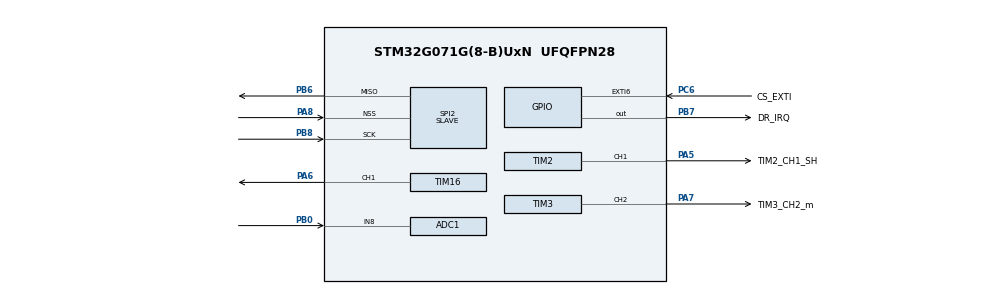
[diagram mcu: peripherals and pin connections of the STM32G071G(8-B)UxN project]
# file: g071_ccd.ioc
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ADC1.Channel-0\#ChannelRegularConversion=ADC_CHANNEL_8
ADC1.DMAContinuousRequests=DISABLE
ADC1.ExternalTrigConv=ADC_EXTERNALTRIG_T6_TRGO
ADC1.ExternalTrigConvEdge=ADC_EXTERNALTRIGCONVEDGE_RISING
ADC1.NbrOfConversion=1
ADC1.NbrOfConversionFlag=1
ADC1.Overrun=ADC_OVR_DATA_OVERWRITTEN
ADC1.OversamplingMode=DISABLE
ADC1.Rank-0\#ChannelRegularConversion=1
ADC1.Resolution=ADC_RESOLUTION_12B
ADC1.SamplingTime-0\#ChannelRegularConversion=ADC_SAMPLINGTIME_COMMON_1
ADC1.SamplingTimeCommon1=ADC_SAMPLETIME_1CYCLE_5
ADC1.SamplingTimeCommon2=ADC_SAMPLETIME_1CYCLE_5
ADC1.SelectedChannel=ADC_CHANNEL_8
ADC1.master=1
Dma.ADC1.0.Direction=DMA_PERIPH_TO_MEMORY
Dma.ADC1.0.EventEnable=DISABLE
Dma.ADC1.0.Instance=DMA1_Channel1
Dma.ADC1.0.MemDataAlignment=DMA_MDATAALIGN_HALFWORD
Dma.ADC1.0.MemInc=DMA_MINC_ENABLE
Dma.ADC1.0.Mode=DMA_NORMAL
Dma.ADC1.0.PeriphDataAlignment=DMA_PDATAALIGN_HALFWORD
Dma.ADC1.0.PeriphInc=DMA_PINC_DISABLE
Dma.ADC1.0.Polarity=HAL_DMAMUX_REQ_GEN_RISING
Dma.ADC1.0.Priority=DMA_PRIORITY_VERY_HIGH
Dma.ADC1.0.RequestNumber=1
Dma.ADC1.0.SignalID=NONE
Dma.ADC1.0.SyncEnable=DISABLE
Dma.ADC1.0.SyncPolarity=HAL_DMAMUX_SYNC_NO_EVENT
Dma.ADC1.0.SyncRequestNumber=1
Dma.ADC1.0.SyncSignalID=NONE
Dma.Request0=ADC1
Dma.Request1=SPI2_TX
Dma.SPI2_TX.1.Direction=DMA_MEMORY_TO_PERIPH
Dma.SPI2_TX.1.EventEnable=DISABLE
Dma.SPI2_TX.1.Instance=DMA1_Channel2
Dma.SPI2_TX.1.MemDataAlignment=DMA_MDATAALIGN_BYTE
Dma.SPI2_TX.1.MemInc=DMA_MINC_ENABLE
Dma.SPI2_TX.1.Mode=DMA_NORMAL
Dma.SPI2_TX.1.PeriphDataAlignment=DMA_PDATAALIGN_BYTE
Dma.SPI2_TX.1.PeriphInc=DMA_PINC_DISABLE
Dma.SPI2_TX.1.Polarity=HAL_DMAMUX_REQ_GEN_RISING
Dma.SPI2_TX.1.Priority=DMA_PRIORITY_LOW
Dma.SPI2_TX.1.RequestNumber=1
Dma.SPI2_TX.1.SignalID=NONE
Dma.SPI2_TX.1.SyncEnable=DISABLE
Dma.SPI2_TX.1.SyncPolarity=HAL_DMAMUX_SYNC_NO_EVENT
Dma.SPI2_TX.1.SyncRequestNumber=1
Dma.SPI2_TX.1.SyncSignalID=NONE
Mcu.Family=STM32G0
Mcu.Name=STM32G071G(8-B)UxN
Mcu.Package=UFQFPN28
NVIC.DMA1_Channel1_IRQn=true\:1\:0\:true\:false\:true\:false\:true\:true
NVIC.DMA1_Channel2_3_IRQn=true\:0\:0\:false\:false\:true\:false\:true\:true
NVIC.EXTI4_15_IRQn=true\:0\:0\:false\:false\:true\:true\:true\:true
NVIC.TIM16_IRQn=true\:0\:0\:false\:false\:true\:true\:true\:true
NVIC.TIM17_IRQn=true\:2\:0\:true\:false\:true\:true\:true\:true
NVIC.TIM2_IRQn=true\:0\:0\:false\:false\:true\:true\:true\:true
PA13.Mode=Serial_Wire
PA13.Signal=SYS_SWDIO
PA14-BOOT0.Mode=Serial_Wire
PA14-BOOT0.Signal=SYS_SWCLK
PA5.GPIO_Label=TIM2_CH1_SH
PA5.Signal=S_TIM2_CH1_ETR
PA6.Signal=S_TIM16_CH1
PA7.GPIO_Label=TIM3_CH2_m
PA7.Signal=S_TIM3_CH2
PA8.Mode=NSS_Signal_Hard_Input
PA8.Signal=SPI2_NSS
PB0.Mode=IN8
PB0.Signal=ADC1_IN8
PB6.Mode=TX_Only_Simplex_Unidirect_Slave
PB6.Signal=SPI2_MISO
PB7.GPIO_Label=DR_IRQ
PB7.GPIO_ModeDefaultOutputPP=GPIO_MODE_OUTPUT_OD
PB7.GPIO_PuPd=GPIO_PULLUP
PB7.PinState=GPIO_PIN_RESET
PB7.Signal=GPIO_Output
PB8.Mode=TX_Only_Simplex_Unidirect_Slave
PB8.Signal=SPI2_SCK
PC6.GPIO_Label=CS_EXTI
PC6.GPIO_ModeDefaultEXTI=GPIO_MODE_IT_RISING_FALLING
PC6.GPIO_PuPd=GPIO_PULLUP
PC6.Signal=GPXTI6
ProjectManager.HeapSize=0x200
ProjectManager.StackSize=0x400
ProjectManager.TargetToolchain=MDK-ARM V5.32
RCC.ADCFreq_Value=64000000
RCC.AHBFreq_Value=64000000
RCC.CortexFreq_Value=64000000
RCC.EXTERNAL_CLOCK_VALUE=48000
RCC.HCLKFreq_Value=64000000
RCC.HSE_VALUE=8000000
RCC.HSI_VALUE=16000000
RCC.LSE_VALUE=32768
RCC.PLLQ=RCC_PLLQ_DIV4
RCC.SYSCLKFreq_VALUE=64000000
RCC.SYSCLKSource=RCC_SYSCLKSOURCE_PLLCLK
RCC.VCOOutputFreq_Value=128000000
SH.S_TIM16_CH1.0=TIM16_CH1,PWM Generation1 CH1
SH.S_TIM2_CH1_ETR.0=TIM2_CH1,PWM Generation1 CH1
SH.S_TIM3_CH2.0=TIM3_CH2,PWM Generation2 CH2
SPI2.DataSize=SPI_DATASIZE_8BIT
SPI2.Direction=SPI_DIRECTION_2LINES
SPI2.Mode=SPI_MODE_SLAVE
SPI2.VirtualNSS=VM_NSSHARD
SPI2.VirtualType=VM_SLAVE
TIM16.Channel=TIM_CHANNEL_1
TIM2.AutoReloadPreload=TIM_AUTORELOAD_PRELOAD_ENABLE
TIM2.Channel-PWM\ Generation1\ CH1=TIM_CHANNEL_1
TIM2.Channel-PWM\ Generation2\ No\ Output=TIM_CHANNEL_2
TIM2.OCMode_PWM-PWM\ Generation2\ No\ Output=TIM_OCMODE_PWM1
TIM3.Channel-PWM\ Generation2\ CH2=TIM_CHANNEL_2
TIM6.TIM_MasterOutputTrigger=TIM_TRGO_UPDATE
VP_TIM16_VS_ClockSourceINT.Mode=Enable_Timer
VP_TIM17_VS_ClockSourceINT.Mode=Enable_Timer
VP_TIM2_VS_no_output2.Mode=PWM Generation2 No Output
VP_TIM3_VS_ClockSourceINT.Mode=Internal
VP_TIM6_VS_ClockSourceINT.Mode=Enable_Timer
board=custom

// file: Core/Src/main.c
/* USER CODE BEGIN Header */
/**
  ******************************************************************************
  * @file           : main.c
  * @brief          : Main program body
  ******************************************************************************
  * @attention
  *
  * Copyright (c) 2025 STMicroelectronics.
  * All rights reserved.
  *
  * This software is licensed under terms that can be found in the LICENSE file
  * in the root directory of this software component.
  * If no LICENSE file comes with this software, it is provided AS-IS.
  *
  ******************************************************************************
  */
  /* USER CODE END Header */
  /* Includes ------------------------------------------------------------------*/
#include "main.h"
#include "adc.h"
#include "dma.h"
#include "spi.h"
#include "tim.h"
#include "gpio.h"

/* USER CODE BEGIN Includes */
#define USE_DATA_NUM 1000
#if (USE_DATA_NUM>1500)
error("max is 1500");
#endif

#define DEFULT_EXPLOSE_TIME_US 2000
#define USE_AUTO_EXPLOSE 0

#if USE_AUTO_EXPLOSE==1
#include "pid.h"
pid_t explose_pid;
uint32_t pixel_sum;
#define AUTO_EXPLOSE_MAX_US 150000
#define AUTO_EXPLOSE_MIN_US 200
#define EXPLOSE_PID_P 0.01
#define EXPLOSE_PID_I 0
#define EXPLOSE_PID_D 0
#endif
/* USER CODE END Includes */

/* USER CODE BEGIN PTD */
#include "string.h"
/* USER CODE END PTD */

/* USER CODE BEGIN PV */
uint16_t calc_raw_max_dummy(void);

/* USER CODE END PV */

void SystemClock_Config(void);
/* USER CODE BEGIN PFP */
enum E_state {
    E_wait_sh_raising,
    E_wait_icg_raising,
    E_wait_dma_ok,
};
__IO enum E_state cur_state;
uint16_t adc_data[1546];
uint8_t adc_data_static_u8[USE_DATA_NUM];
__IO uint8_t ccd_frame_ok = 0;
__IO int32_t explose_time_us = DEFULT_EXPLOSE_TIME_US;
void ccd_start_icg(void);
void ccd_one_frame_ok(void);
__IO uint8_t ccd_want_update_sh_v = 0;
void ccd_want_update_sh(void)
{
    ccd_want_update_sh_v = 1;
    // LL_TIM_ClearFlag_UPDATE(TIM2);
    // LL_TIM_EnableIT_UPDATE(TIM2);
}
void ccd_update_sh(void)
{
    // LL_TIM_DisableIT_UPDATE(TIM2);
    if (explose_time_us > 10 && TIM2->ARR != explose_time_us - 1)
    {
        TIM2->ARR = explose_time_us - 1;
        TIM2->CCR2 = TIM2->ARR - 3;
        if (TIM2->CNT > TIM2->CCR2 - 100)
            TIM2->CNT = TIM2->CCR2 - 100;
    }
}
void ccd_waiting_sh(void)
{
    // if (explose_time_us > 10 && TIM2->ARR != explose_time_us)
    // {
    //     LL_TIM_DisableCounter(TIM2);
    //     TIM2->ARR = explose_time_us;
    //     TIM2->CCR2 = TIM2->ARR - 2;
    //     LL_TIM_GenerateEvent_UPDATE(TIM2);
    //     LL_TIM_EnableCounter(TIM2);
    // }
    LL_TIM_ClearFlag_CC2(TIM2);
    LL_TIM_EnableIT_CC2(TIM2);
    cur_state = E_wait_sh_raising;
}
void ccd_sh_want_raise(void)
{
    LL_TIM_ClearFlag_CC2(TIM2);
    LL_TIM_DisableIT_CC2(TIM2);
    if (TIM2->CNT < TIM2->CCR2)
    {
        ccd_waiting_sh();
    }
    else if (E_wait_sh_raising == cur_state)
    {
        ccd_start_icg();
        cur_state = E_wait_icg_raising;
    }
}
void ccd_start_icg(void)
{
    TIM16->PSC = 31;
    TIM16->ARR = 20 * 2 - 1;
    TIM16->CCR1 = 1;
    LL_TIM_EnableAllOutputs(TIM16);
    LL_TIM_CC_EnableChannel(TIM16, LL_TIM_CHANNEL_CH1);
    LL_TIM_ClearFlag_UPDATE(TIM16);
    LL_TIM_EnableIT_UPDATE(TIM16);
    LL_TIM_SetOnePulseMode(TIM16, LL_TIM_ONEPULSEMODE_SINGLE);
    LL_TIM_EnableCounter(TIM16);
}
void ccd_end_icg(void)
{
    LL_TIM_ClearFlag_UPDATE(TIM16);
    LL_TIM_DisableIT_UPDATE(TIM16);
    LL_TIM_DisableCounter(TIM16);
    if (E_wait_icg_raising == cur_state)
    {
        LL_ADC_ClearFlag_OVR(ADC1);
        LL_DMA_SetMemoryAddress(DMA1, LL_DMA_CHANNEL_1, (uint32_t)adc_data);
        LL_DMA_SetPeriphAddress(DMA1, LL_DMA_CHANNEL_1, LL_ADC_DMA_GetRegAddr(ADC1, LL_ADC_DMA_REG_REGULAR_DATA));
        LL_DMA_SetDataLength(DMA1, LL_DMA_CHANNEL_1, sizeof(adc_data) / sizeof(adc_data[0]));
        LL_DMA_ClearFlag_HT1(DMA1);
        LL_DMA_ClearFlag_TE1(DMA1);
        LL_DMA_ClearFlag_TC1(DMA1);
        LL_DMA_EnableIT_TC(DMA1, LL_DMA_CHANNEL_1);
        LL_DMA_EnableChannel(DMA1, LL_DMA_CHANNEL_1);
        LL_ADC_REG_StartConversion(ADC1);
        cur_state = E_wait_dma_ok;
    }
}
void ccd_end_transfer(void)
{
    static int is_first = 0;
    LL_ADC_REG_StopConversion(ADC1);
    LL_DMA_DisableChannel(DMA1, LL_DMA_CHANNEL_1);
    LL_DMA_ClearFlag_HT1(DMA1);
    LL_DMA_ClearFlag_TE1(DMA1);
    LL_DMA_ClearFlag_TC1(DMA1);
    if (E_wait_dma_ok == cur_state)
    {
        if (is_first < 5)
        {
            is_first++;
            ccd_waiting_sh();
        }
        else
        {
            if (ccd_want_update_sh_v)
            {
                ccd_want_update_sh_v = 0;
                ccd_update_sh();
            }
            uint16_t max = calc_raw_max_dummy();
#if USE_AUTO_EXPLOSE==1
            pixel_sum = 0;
#endif
            for (int i = 0;i < USE_DATA_NUM;i++)
            {
                adc_data_static_u8[i] = ((max - adc_data[i + 32 + (1500 - USE_DATA_NUM) / 2])) / 10;
#if USE_AUTO_EXPLOSE==1
                pixel_sum += adc_data_static_u8[i];
#endif
            }
            ccd_one_frame_ok();
            ccd_waiting_sh();
        }
    }
}
void ccd_one_frame_ok(void)
{
    ccd_frame_ok = 1;
    LL_GPIO_ResetOutputPin(DR_IRQ_GPIO_Port, DR_IRQ_Pin);
}
/* USER CODE END PFP */

/* USER CODE BEGIN 0 */
uint16_t calc_raw_max_dummy(void)
{
    uint32_t sum = 0;;
    for (int i = 0;i < 14;i++)
    {
        sum += adc_data[i];
    }
    return sum / 14;
}
void pid_calc_timely(void)
{
#if USE_AUTO_EXPLOSE==1
    static int last = 2000;
    if (pixel_sum)
    {
        int exp = pid_calc(&explose_pid, pixel_sum, USE_DATA_NUM * 120);
        last += exp;
        if (last < AUTO_EXPLOSE_MIN_US)
            last = AUTO_EXPLOSE_MIN_US;
        if (last > AUTO_EXPLOSE_MAX_US)
            last = AUTO_EXPLOSE_MAX_US;
        explose_time_us = last;
        ccd_want_update_sh();
    }
#endif
}
__IO uint8_t spi_in_use = 0;
typedef struct {
    uint16_t frame_head;
    uint16_t frame_len;
    uint16_t explose_time_us;
    uint8_t frame_mode;
    uint8_t frame_index;
    uint16_t frame_tail;
    uint8_t frame_data[USE_DATA_NUM];
}__attribute__((packed)) frame_data_t;
frame_data_t frame_data;
void cs_falling_irq(void)
{
    LL_DMA_DisableChannel(DMA1, LL_DMA_CHANNEL_2);
    LL_DMA_SetMemoryAddress(DMA1, LL_DMA_CHANNEL_2, (uint32_t)&frame_data);
    LL_DMA_SetPeriphAddress(DMA1, LL_DMA_CHANNEL_2, LL_SPI_DMA_GetRegAddr(SPI2));
    LL_DMA_SetDataLength(DMA1, LL_DMA_CHANNEL_2, sizeof(frame_data));
    LL_DMA_ClearFlag_HT2(DMA1);
    LL_DMA_ClearFlag_TE2(DMA1);
    LL_DMA_ClearFlag_TC2(DMA1);
    LL_DMA_EnableChannel(DMA1, LL_DMA_CHANNEL_2);
    LL_SPI_EnableDMAReq_TX(SPI2);
    spi_in_use = 1;
}
void cs_raising_irq(void)
{
    LL_SPI_DisableDMAReq_TX(SPI2);
    LL_DMA_ClearFlag_HT2(DMA1);
    LL_DMA_ClearFlag_TE2(DMA1);
    LL_DMA_ClearFlag_TC2(DMA1);
    LL_DMA_DisableChannel(DMA1, LL_DMA_CHANNEL_2);
    spi_in_use = 0;
    LL_GPIO_SetOutputPin(DR_IRQ_GPIO_Port, DR_IRQ_Pin);
}
void spi_end_transfer(void)
{
    LL_SPI_TransmitData8(SPI2, 0xA5);
    spi_in_use = 0;
    LL_DMA_DisableChannel(DMA1, LL_DMA_CHANNEL_2);
}

/* USER CODE END 0 */

int main(void)
{

    /* MCU Configuration--------------------------------------------------------*/

    /* Reset of all peripherals, Initializes the Flash interface and the Systick. */
    LL_APB2_GRP1_EnableClock(LL_APB2_GRP1_PERIPH_SYSCFG);
    LL_APB1_GRP1_EnableClock(LL_APB1_GRP1_PERIPH_PWR);

    /* SysTick_IRQn interrupt configuration */
    NVIC_SetPriority(SysTick_IRQn, 3);

    /* Configure the system clock */
    SystemClock_Config();

    /* Initialize all configured peripherals */
    MX_GPIO_Init();
    MX_DMA_Init();
    MX_ADC1_Init();
    MX_SPI2_Init();
    MX_TIM2_Init();
    MX_TIM3_Init();
    MX_TIM17_Init();
    MX_TIM16_Init();
    MX_TIM6_Init();
    /* USER CODE BEGIN 2 */

          // \phi m clock 2Mhz
    TIM3->PSC = 0;
    TIM3->ARR = 31;
    TIM3->CCR2 = 15;
    LL_TIM_GenerateEvent_UPDATE(TIM3);
    LL_TIM_EnableAllOutputs(TIM3);
    LL_TIM_CC_EnableChannel(TIM3, LL_TIM_CHANNEL_CH2);

    // adc convert clock 1Mhz
    TIM6->PSC = 0;
    TIM6->ARR = 63;
    LL_TIM_GenerateEvent_UPDATE(TIM6);
    LL_TIM_EnableCounter(TIM6);

    LL_TIM_EnableCounter(TIM3);
    // sh  high level>1us, tint>10us
    TIM2->PSC = 63;
    TIM2->ARR = 999;
    TIM2->CCR1 = 3;
    TIM2->CCR2 = TIM2->ARR - 4;
    LL_TIM_GenerateEvent_UPDATE(TIM2);
    LL_TIM_EnableAllOutputs(TIM2);
    LL_TIM_CC_EnableChannel(TIM2, LL_TIM_CHANNEL_CH1);
    LL_TIM_CC_EnableChannel(TIM2, LL_TIM_CHANNEL_CH2);
    LL_TIM_EnableCounter(TIM2);

    LL_ADC_StartCalibration(ADC1);
    while (LL_ADC_IsCalibrationOnGoing(ADC1));
    LL_ADC_Enable(ADC1);
    // LL_GPIO_SetOutputPin(GPIOA, LL_GPIO_PIN_8);

#if USE_AUTO_EXPLOSE==1
    PID_struct_init(&explose_pid, DELTA_PID, 10000, 10000, EXPLOSE_PID_P, EXPLOSE_PID_I, EXPLOSE_PID_D);
    TIM17->PSC = 63999;
    TIM17->ARR = 50;
    LL_TIM_EnableIT_UPDATE(TIM17);
    LL_TIM_EnableCounter(TIM17);
#endif
    //LL_ADC_REG_StartConversion(ADC1);
    // LL_mDelay(1);
    ccd_want_update_sh();
    ccd_waiting_sh();

    LL_EXTI_EnableRisingTrig_0_31(LL_EXTI_LINE_6);
    LL_EXTI_EnableFallingTrig_0_31(LL_EXTI_LINE_6);
    LL_EXTI_EnableIT_0_31(LL_EXTI_LINE_6);
    LL_SPI_Enable(SPI2);
    LL_DMA_EnableIT_TC(DMA1, LL_DMA_CHANNEL_2);
    LL_SPI_TransmitData8(SPI2, 0xA5);
    // ccd_start_icg();
  /* USER CODE END 2 */

  /* Infinite loop */
  /* USER CODE BEGIN WHILE */
    while (1)
    {
        if (spi_in_use == 0)
        {
            if (ccd_frame_ok)
            {
                ccd_frame_ok = 0;
                frame_data.frame_head = 0x2107;
                frame_data.frame_len = USE_DATA_NUM;
                frame_data.explose_time_us = explose_time_us;
                frame_data.frame_mode = 1;
                frame_data.frame_index++;
                frame_data.frame_tail = 0x0721;
                memcpy(frame_data.frame_data, adc_data_static_u8, USE_DATA_NUM);
            }
        }
        /* USER CODE END WHILE */

    }
}

void SystemClock_Config(void)
{
    LL_FLASH_SetLatency(LL_FLASH_LATENCY_2);
    while (LL_FLASH_GetLatency() != LL_FLASH_LATENCY_2)
    {
    }

    /* HSI configuration and activation */
    LL_RCC_HSI_Enable();
    while (LL_RCC_HSI_IsReady() != 1)
    {
    }

    /* Main PLL configuration and activation */
    LL_RCC_PLL_ConfigDomain_SYS(LL_RCC_PLLSOURCE_HSI, LL_RCC_PLLM_DIV_1, 8, LL_RCC_PLLR_DIV_2);
    LL_RCC_PLL_Enable();
    LL_RCC_PLL_EnableDomain_SYS();
    while (LL_RCC_PLL_IsReady() != 1)
    {
    }

    /* Set AHB prescaler*/
    LL_RCC_SetAHBPrescaler(LL_RCC_SYSCLK_DIV_1);

    /* Sysclk activation on the main PLL */
    LL_RCC_SetSysClkSource(LL_RCC_SYS_CLKSOURCE_PLL);
    while (LL_RCC_GetSysClkSource() != LL_RCC_SYS_CLKSOURCE_STATUS_PLL)
    {
    }

    /* Set APB1 prescaler*/
    LL_RCC_SetAPB1Prescaler(LL_RCC_APB1_DIV_1);
    LL_Init1msTick(64000000);
    /* Update CMSIS variable (which can be updated also through SystemCoreClockUpdate function) */
    LL_SetSystemCoreClock(64000000);
}

void Error_Handler(void)
{
    __disable_irq();
    while (1)
    {
    }
}
